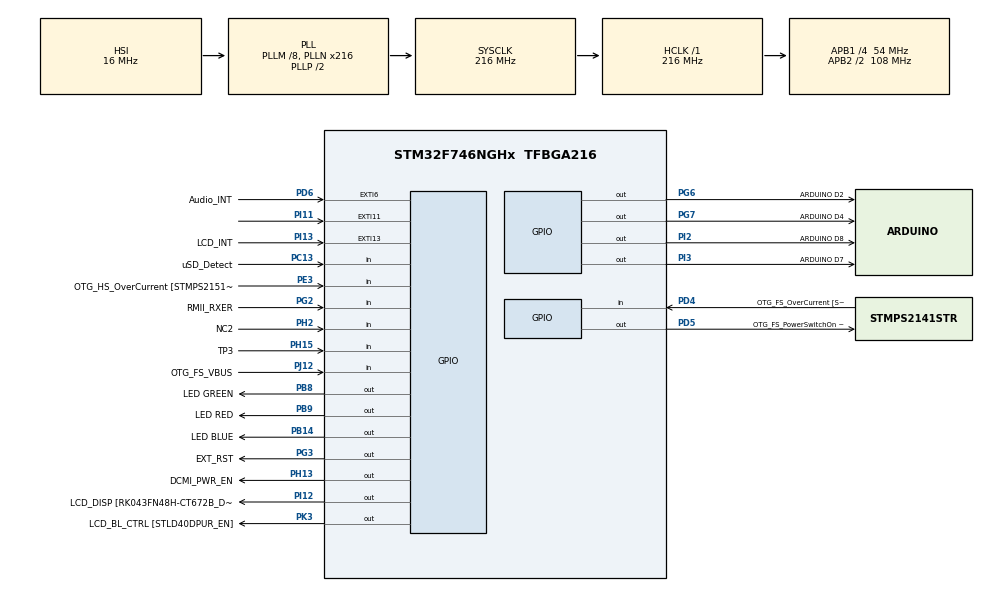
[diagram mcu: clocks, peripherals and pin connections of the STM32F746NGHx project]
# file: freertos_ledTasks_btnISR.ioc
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Mcu.Family=STM32F7
Mcu.Name=STM32F746NGHx
Mcu.Package=TFBGA216
NVIC.EXTI15_10_IRQn=true\:6\:0\:true\:false\:true\:true\:true\:true
NVIC.PriorityGroup=NVIC_PRIORITYGROUP_4
NVIC.TIM6_DAC_IRQn=true\:15\:0\:false\:false\:true\:false\:true\:true
NVIC.TimeBase=TIM6_DAC_IRQn
NVIC.TimeBaseIP=TIM6
PA0/WKUP.GPIO_Label=ARDUINO A0
PA0/WKUP.GPIO_Mode=GPIO_MODE_ANALOG
PA0/WKUP.GPIO_PuPd=GPIO_NOPULL
PA0/WKUP.Signal=ADCx_IN0
PA1.GPIO_Label=RMII_REF_CLK [LAN8742A-CZ-TR_REFCLK0]
PA1.Signal=ETH_REF_CLK
PA10.GPIO_Label=OTG_FS_ID
PA10.Signal=USB_OTG_FS_ID
PA11.GPIO_Label=OTG_FS_N
PA11.Signal=USB_OTG_FS_DM
PA12.GPIO_Label=OTG_FS_P
PA12.Signal=USB_OTG_FS_DP
PA13.GPIO_Label=SWDIO
PA13.Signal=SYS_JTMS-SWDIO
PA14.GPIO_Label=SWCLK
PA14.Signal=SYS_JTCK-SWCLK
PA15.GPIO_Label=ARDUINO PWM/D9
PA15.GPIO_ModeDefaultPP=GPIO_MODE_AF_PP
PA15.GPIO_PuPd=GPIO_NOPULL
PA15.GPIO_Speed=GPIO_SPEED_FREQ_LOW
PA15.Signal=S_TIM2_CH1_ETR
PA2.GPIO_Label=RMII_MDIO [LAN8742A-CZ-TR_MDIO]
PA2.Signal=ETH_MDIO
PA3.GPIO_Label=ULPI_D0 [USB3320C-EZK_D0]
PA3.Signal=USB_OTG_HS_ULPI_D0
PA4.GPIO_Label=DCMI_HSYNC
PA4.Signal=DCMI_HSYNC
PA5.GPIO_Label=ULPI_CLK [USB3320C-EZK_CLKOUT]
PA5.Signal=USB_OTG_HS_ULPI_CK
PA6.Signal=DCMI_PIXCLK
PA7.GPIO_Label=RMII_CRS_DV [LAN8742A-CZ-TR_CRS_DV]
PA7.Signal=ETH_CRS_DV
PA8.GPIO_Label=ARDUINO PWM/D10
PA8.GPIO_ModeDefaultPP=GPIO_MODE_AF_PP
PA8.GPIO_PuPd=GPIO_NOPULL
PA8.GPIO_Speed=GPIO_SPEED_FREQ_LOW
PA8.Signal=S_TIM1_CH1
PA9.GPIO_Label=VCP_TX [STM32F103CBT6_PA3]
PA9.GPIO_Mode=GPIO_MODE_AF_PP
PA9.GPIO_PuPd=GPIO_NOPULL
PA9.GPIO_Speed=GPIO_SPEED_FREQ_LOW
PA9.Signal=USART1_TX
PB0.GPIO_Label=ULPI_D1 [USB3320C-EZK_D1]
PB0.Signal=USB_OTG_HS_ULPI_D1
PB1.GPIO_Label=ULPI_D2 [USB3320C-EZK_D2]
PB1.Signal=USB_OTG_HS_ULPI_D2
PB10.GPIO_Label=ULPI_D3 [USB3320C-EZK_D3]
PB10.Signal=USB_OTG_HS_ULPI_D3
PB11.GPIO_Label=ULPI_D4 [USB3320C-EZK_D4]
PB11.Signal=USB_OTG_HS_ULPI_D4
PB12.GPIO_Label=ULPI_D5 [USB3320C-EZK_D5]
PB12.Signal=USB_OTG_HS_ULPI_D5
PB13.GPIO_Label=ULPI_D6 [USB3320C-EZK_D6]
PB13.Signal=USB_OTG_HS_ULPI_D6
PB14.GPIO_Label=LED BLUE
PB14.Signal=GPIO_Output
PB15.GPIO_Label=ARDUINO MOSI/PWM/D11
PB15.GPIO_Mode=GPIO_MODE_AF_PP
PB15.GPIO_PuPd=GPIO_NOPULL
PB15.GPIO_Speed=GPIO_SPEED_FREQ_LOW
PB15.Signal=SPI2_MOSI
PB2.Signal=QUADSPI_CLK
PB3.GPIO_Label=SWO
PB3.Signal=SYS_JTDO-SWO
PB4.GPIO_Label=ARDUINO PWM/D3
PB4.GPIO_ModeDefaultPP=GPIO_MODE_AF_PP
PB4.GPIO_PuPd=GPIO_NOPULL
PB4.GPIO_Speed=GPIO_SPEED_FREQ_LOW
PB4.Signal=S_TIM3_CH1
PB5.GPIO_Label=ULPI_D7 [USB3320C-EZK_D7]
PB5.Signal=USB_OTG_HS_ULPI_D7
PB6.GPIO_Label=QSPI_NCS [N25Q128A13EF840E_S]
PB6.Signal=QUADSPI_BK1_NCS
PB7.GPIO_Label=VCP_RX [STM32F103CBT6_PA2]
PB7.GPIO_Mode=GPIO_MODE_AF_PP
PB7.GPIO_PuPd=GPIO_NOPULL
PB7.GPIO_Speed=GPIO_SPEED_FREQ_LOW
PB7.Signal=USART1_RX
PB8.GPIO_Label=LED GREEN
PB8.Signal=GPIO_Output
PB9.GPIO_Label=LED RED
PB9.Signal=GPIO_Output
PC0.GPIO_Label=ULPI_STP [USB3320C-EZK_STP]
PC0.Signal=USB_OTG_HS_ULPI_STP
PC1.GPIO_Label=RMII_MDC [LAN8742A-CZ-TR_MDC]
PC1.Signal=ETH_MDC
PC10.GPIO_Label=SDMMC_D2
PC10.Signal=SDMMC1_D2
PC11.GPIO_Label=SDMMC_D3
PC11.Signal=SDMMC1_D3
PC12.GPIO_Label=SDMMC_CK
PC12.Signal=SDMMC1_CK
PC13.GPIO_Label=uSD_Detect
PC13.Signal=GPIO_Input
PC14/OSC32_IN.GPIO_Label=RCC_OSC32_IN
PC14/OSC32_IN.Signal=RCC_OSC32_IN
PC15/OSC32_OUT.GPIO_Label=RCC_OSC32_OUT
PC15/OSC32_OUT.Signal=RCC_OSC32_OUT
PC2.GPIO_Label=ULPI_DIR [USB3320C-EZK_DIR]
PC2.Signal=USB_OTG_HS_ULPI_DIR
PC3.GPIO_Label=FMC_SDCKE0 [MT48LC4M32B2B5-6A_CKE]
PC3.Signal=FMC_SDCKE0
PC4.GPIO_Label=RMII_RXD0 [LAN8742A-CZ-TR_RXD0]
PC4.Signal=ETH_RXD0
PC5.GPIO_Label=RMII_RXD1 [LAN8742A-CZ-TR_RXD1]
PC5.Signal=ETH_RXD1
PC6.GPIO_Label=ARDUINO TX/D1
PC6.Signal=USART6_TX
PC7.GPIO_Label=ARDUINO RX/D0
PC7.Signal=USART6_RX
PC8.Signal=SDMMC1_D0
PC9.Signal=SDMMC1_D1
PD0.GPIO_Label=FMC_D2 [MT48LC4M32B2B5-6A_DQ2]
PD0.Signal=FMC_D2_DA2
PD1.GPIO_Label=FMC_D3 [MT48LC4M32B2B5-6A_DQ3]
PD1.Signal=FMC_D3_DA3
PD10.GPIO_Label=FMC_D15 [MT48LC4M32B2B5-6A_DQ15]
PD10.Signal=FMC_D15_DA15
PD11.GPIO_Label=QSPI_D0 [N25Q128A13EF840E_DQ0]
PD11.Signal=QUADSPI_BK1_IO0
PD12.GPIO_Label=QSPI_D1 [N25Q128A13EF840E_DQ1]
PD12.Signal=QUADSPI_BK1_IO1
PD13.GPIO_Label=QSPI_D3 [N25Q128A13EF840E_DQ3]
PD13.Signal=QUADSPI_BK1_IO3
PD14.GPIO_Label=FMC_D0 [MT48LC4M32B2B5-6A_DQ0]
PD14.Signal=FMC_D0_DA0
PD15.GPIO_Label=FMC_D1 [MT48LC4M32B2B5-6A_DQ1]
PD15.Signal=FMC_D1_DA1
PD2.GPIO_Label=SDMMC_D0
PD2.Signal=SDMMC1_CMD
PD3.GPIO_Label=DCMI_D5
PD3.Signal=DCMI_D5
PD4.GPIO_Label=OTG_FS_OverCurrent [STMPS2141STR_Fault]
PD4.Signal=GPIO_Input
PD5.GPIO_Label=OTG_FS_PowerSwitchOn [STMPS2141STR_EN]
PD5.PinState=GPIO_PIN_SET
PD5.Signal=GPIO_Output
PD6.GPIO_Label=Audio_INT
PD6.GPIO_ModeDefaultEXTI=GPIO_MODE_EVT_RISING
PD6.Signal=GPXTI6
PD7.GPIO_Label=SPDIF_RX0 [74LVC1G04SE_4]
PD7.Signal=SPDIFRX_IN0
PD8.GPIO_Label=FMC_D13 [MT48LC4M32B2B5-6A_DQ13]
PD8.Signal=FMC_D13_DA13
PD9.GPIO_Label=FMC_D14 [MT48LC4M32B2B5-6A_DQ14]
PD9.Signal=FMC_D14_DA14
PE0.GPIO_Label=FMC_NBL0 [MT48LC4M32B2B5-6A_DQM0]
PE0.Signal=FMC_NBL0
PE1.GPIO_Label=FMC_NBL1 [MT48LC4M32B2B5-6A_DQM1]
PE1.Signal=FMC_NBL1
PE10.GPIO_Label=FMC_D7 [MT48LC4M32B2B5-6A_DQ7]
PE10.Signal=FMC_D7_DA7
PE11.GPIO_Label=FMC_D8 [MT48LC4M32B2B5-6A_DQ8]
PE11.Signal=FMC_D8_DA8
PE12.GPIO_Label=FMC_D9 [MT48LC4M32B2B5-6A_DQ9]
PE12.Signal=FMC_D9_DA9
PE13.GPIO_Label=FMC_D10 [MT48LC4M32B2B5-6A_DQ10]
PE13.Signal=FMC_D10_DA10
PE14.GPIO_Label=FMC_D11 [MT48LC4M32B2B5-6A_DQ11]
PE14.Signal=FMC_D11_DA11
PE15.GPIO_Label=FMC_D12 [MT48LC4M32B2B5-6A_DQ12]
PE15.Signal=FMC_D12_DA12
PE2.GPIO_Label=QSPI_D2 [N25Q128A13EF840E_DQ2]
PE2.Signal=QUADSPI_BK1_IO2
PE3.GPIO_Label=OTG_HS_OverCurrent [STMPS2151STR_FAULT]
PE3.Signal=GPIO_Input
PE4.GPIO_Label=LCD_B0 [RK043FN48H-CT672B_B0]
PE4.Signal=LTDC_B0
PE5.GPIO_Label=DCMI_D6
PE5.Signal=DCMI_D6
PE6.GPIO_Label=DCMI_D7
PE6.Signal=DCMI_D7
PE7.GPIO_Label=FMC_D4 [MT48LC4M32B2B5-6A_DQ4]
PE7.Signal=FMC_D4_DA4
PE8.GPIO_Label=FMC_D5 [MT48LC4M32B2B5-6A_DQ5]
PE8.Signal=FMC_D5_DA5
PE9.GPIO_Label=FMC_D6 [MT48LC4M32B2B5-6A_DQ6]
PE9.Signal=FMC_D6_DA6
PF0.GPIO_Label=FMC_A0 [MT48LC4M32B2B5-6A_A0]
PF0.Signal=FMC_A0
PF1.GPIO_Label=FMC_A1 [MT48LC4M32B2B5-6A_A1]
PF1.Signal=FMC_A1
PF10.GPIO_Label=ARDUINO A1
PF10.GPIO_Mode=GPIO_MODE_ANALOG
PF10.GPIO_PuPd=GPIO_NOPULL
PF10.Signal=ADC3_IN8
PF11.GPIO_Label=FMC_SDNRAS [MT48LC4M32B2B5-6A_RAS]
PF11.Signal=FMC_SDNRAS
PF12.GPIO_Label=FMC_A6 [MT48LC4M32B2B5-6A_A6]
PF12.Signal=FMC_A6
PF13.GPIO_Label=FMC_A7 [MT48LC4M32B2B5-6A_A7]
PF13.Signal=FMC_A7
PF14.GPIO_Label=FMC_A8 [MT48LC4M32B2B5-6A_A8]
PF14.Signal=FMC_A8
PF15.GPIO_Label=FMC_A9 [MT48LC4M32B2B5-6A_A9]
PF15.Signal=FMC_A9
PF2.GPIO_Label=FMC_A2 [MT48LC4M32B2B5-6A_A2]
PF2.Signal=FMC_A2
PF3.GPIO_Label=FMC_A3 [MT48LC4M32B2B5-6A_A3]
PF3.Signal=FMC_A3
PF4.GPIO_Label=FMC_A4 [MT48LC4M32B2B5-6A_A4]
PF4.Signal=FMC_A4
PF5.GPIO_Label=FMC_A5 [MT48LC4M32B2B5-6A_A5]
PF5.Signal=FMC_A5
PF6.GPIO_Label=ARDUINO A5
PF6.GPIO_Mode=GPIO_MODE_ANALOG
PF6.GPIO_PuPd=GPIO_NOPULL
PF6.Signal=ADC3_IN4
PF7.GPIO_Label=ARDUINO A4
PF7.GPIO_Mode=GPIO_MODE_ANALOG
PF7.GPIO_PuPd=GPIO_NOPULL
PF7.Signal=ADC3_IN5
PF8.GPIO_Label=ARDUINO A3
PF8.GPIO_Mode=GPIO_MODE_ANALOG
PF8.GPIO_PuPd=GPIO_NOPULL
PF8.Signal=ADC3_IN6
PF9.GPIO_Label=ARDUINO A2
PF9.GPIO_Mode=GPIO_MODE_ANALOG
PF9.GPIO_PuPd=GPIO_NOPULL
PF9.Signal=ADC3_IN7
PG0.GPIO_Label=FMC_A10 [MT48LC4M32B2B5-6A_A10]
PG0.Signal=FMC_A10
PG1.GPIO_Label=FMC_A11 [MT48LC4M32B2B5-6A_A11]
PG1.Signal=FMC_A11
PG10.GPIO_Label=SAI2_SDB [WM8994ECS/R_ADCDAT1]
PG10.Signal=SAI2_SD_B
PG11.GPIO_Label=RMII_TX_EN [LAN8742A-CZ-TR_TXEN]
PG11.Signal=ETH_TX_EN
PG12.GPIO_Label=LCD_B4 [RK043FN48H-CT672B_B4]
PG12.Signal=LTDC_B4
PG13.GPIO_Label=RMII_TXD0 [LAN8742A-CZ-TR_TXD0]
PG13.Signal=ETH_TXD0
PG14.GPIO_Label=RMII_TXD1 [LAN8742A-CZ-TR_TXD1]
PG14.Signal=ETH_TXD1
PG15.GPIO_Label=FMC_SDNCAS [MT48LC4M32B2B5-6A_CAS]
PG15.Signal=FMC_SDNCAS
PG2.GPIO_Label=RMII_RXER
PG2.Signal=GPIO_Input
PG3.GPIO_Label=EXT_RST
PG3.Signal=GPIO_Output
PG4.GPIO_Label=FMC_BA0 [MT48LC4M32B2B5-6A_BA0]
PG4.Signal=FMC_A14_BA0
PG5.GPIO_Label=FMC_BA1 [MT48LC4M32B2B5-6A_BA1]
PG5.Signal=FMC_A15_BA1
PG6.GPIO_Label=ARDUINO D2
PG6.Signal=GPIO_Output
PG7.GPIO_Label=ARDUINO D4
PG7.Signal=GPIO_Output
PG8.GPIO_Label=FMC_SDCLK [MT48LC4M32B2B5-6A_CLK]
PG8.Signal=FMC_SDCLK
PG9.GPIO_Label=DCMI_VSYNC
PG9.Signal=DCMI_VSYNC
PH0/OSC_IN.GPIO_Label=OSC_25M [NZ2520SB-25.00M_OUT]
PH0/OSC_IN.Signal=RCC_OSC_IN
PH1/OSC_OUT.Signal=RCC_OSC_OUT
PH10.GPIO_Label=DCMI_D1
PH10.Signal=DCMI_D1
PH11.GPIO_Label=DCMI_D2
PH11.Signal=DCMI_D2
PH12.GPIO_Label=DCMI_D3
PH12.Signal=DCMI_D3
PH13.GPIO_Label=DCMI_PWR_EN
PH13.Signal=GPIO_Output
PH14.GPIO_Label=DCMI_D4
PH14.Signal=DCMI_D4
PH15.GPIO_Label=TP3
PH15.Signal=GPIO_Input
PH2.GPIO_Label=NC2
PH2.Signal=GPIO_Input
PH3.GPIO_Label=FMC_SDNE0 [MT48LC4M32B2B5-6A_CS]
PH3.Signal=FMC_SDNE0
PH4.GPIO_Label=ULPI_NXT [USB3320C-EZK_NXT]
PH4.Signal=USB_OTG_HS_ULPI_NXT
PH5.GPIO_Label=FMC_SDNME [MT48LC4M32B2B5-6A_WE]
PH5.Signal=FMC_SDNWE
PH6.GPIO_Label=ARDUINO PWM/D6
PH6.Signal=S_TIM12_CH1
PH7.GPIO_Label=LCD_SCL [RK043FN48H-CT672B_SCL]
PH7.Signal=I2C3_SCL
PH8.GPIO_Label=LCD_SDA [RK043FN48H-CT672B_SDA]
PH8.Signal=I2C3_SDA
PH9.GPIO_Label=DCMI_D0
PH9.Signal=DCMI_D0
PI0.GPIO_Label=ARDUINO PWM/CS/D5
PI0.GPIO_ModeDefaultPP=GPIO_MODE_AF_PP
PI0.GPIO_PuPd=GPIO_NOPULL
PI0.GPIO_Speed=GPIO_SPEED_FREQ_LOW
PI0.Signal=S_TIM5_CH4
PI1.GPIO_Label=ARDUINO SCK/D13
PI1.GPIO_Mode=GPIO_MODE_AF_PP
PI1.GPIO_PuPd=GPIO_NOPULL
PI1.GPIO_Speed=GPIO_SPEED_FREQ_LOW
PI1.Signal=SPI2_SCK
PI10.GPIO_Label=LCD_HSYNC [RK043FN48H-CT672B_HSYNC]
PI10.Signal=LTDC_HSYNC
PI11.GPIO_ModeDefaultEXTI=GPIO_MODE_IT_FALLING
PI11.Signal=GPXTI11
PI12.GPIO_Label=LCD_DISP [RK043FN48H-CT672B_DISP] 
PI12.Signal=GPIO_Output
PI13.GPIO_Label=LCD_INT
PI13.GPIO_ModeDefaultEXTI=GPIO_MODE_EVT_RISING
PI13.Signal=GPXTI13
PI14.GPIO_Label=LCD_CLK [RK043FN48H-CT672B_CLK]
PI14.Signal=LTDC_CLK
PI15.GPIO_Label=LCD_R0 [RK043FN48H-CT672B_R0]
PI15.Signal=LTDC_R0
PI2.GPIO_Label=ARDUINO D8
PI2.Signal=GPIO_Output
PI3.GPIO_Label=ARDUINO D7
PI3.Signal=GPIO_Output
PI4.GPIO_Label=SAI2_MCLKA [WM8994ECS/R_MCLK1]
PI4.Signal=SAI2_MCLK_A
PI5.GPIO_Label=SAI2_SCKA [WM8994ECS/R_BCLK1]
PI5.Signal=SAI2_SCK_A
PI6.GPIO_Label=SAI2_SDA [WM8994ECS/R_DACDAT1]
PI6.Signal=SAI2_SD_A
PI7.GPIO_Label=SAI2_FSA [WM8994ECS/R_LRCLK1]
PI7.Signal=SAI2_FS_A
PI8.GPIO_Label=NC1 [TP2]
PI8.Signal=RTC_TS
PI9.GPIO_Label=LCD_VSYNC [RK043FN48H-CT672B_VSYNC]
PI9.Signal=LTDC_VSYNC
PJ0.GPIO_Label=LCD_R1 [RK043FN48H-CT672B_R1]
PJ0.Signal=LTDC_R1
PJ1.GPIO_Label=LCD_R2 [RK043FN48H-CT672B_R2]
PJ1.Signal=LTDC_R2
PJ10.GPIO_Label=LCD_G3 [RK043FN48H-CT672B_G3]
PJ10.Signal=LTDC_G3
PJ11.GPIO_Label=LCD_G4 [RK043FN48H-CT672B_G4]
PJ11.Signal=LTDC_G4
PJ12.GPIO_Label=OTG_FS_VBUS
PJ12.Signal=GPIO_Input
PJ13.GPIO_Label=LCD_B1 [RK043FN48H-CT672B_B1]
PJ13.Signal=LTDC_B1
PJ14.GPIO_Label=LCD_B2 [RK043FN48H-CT672B_B2]
PJ14.Signal=LTDC_B2
PJ15.GPIO_Label=LCD_B3 [RK043FN48H-CT672B_B3]
PJ15.Signal=LTDC_B3
PJ2.GPIO_Label=LCD_R3 [RK043FN48H-CT672B_R3]
PJ2.Signal=LTDC_R3
PJ3.GPIO_Label=LCD_R4 [RK043FN48H-CT672B_R4]
PJ3.Signal=LTDC_R4
PJ4.GPIO_Label=LCD_R5 [RK043FN48H-CT672B_R5]
PJ4.Signal=LTDC_R5
PJ5.GPIO_Label=LCD_R6 [RK043FN48H-CT672B_R6]
PJ5.Signal=LTDC_R6
PJ6.GPIO_Label=LCD_R7 [RK043FN48H-CT672B_R7]
PJ6.Signal=LTDC_R7
PJ7.GPIO_Label=LCD_G0 [RK043FN48H-CT672B_G0]
PJ7.Signal=LTDC_G0
PJ8.GPIO_Label=LCD_G1 [RK043FN48H-CT672B_G1]
PJ8.Signal=LTDC_G1
PJ9.GPIO_Label=LCD_G2 [RK043FN48H-CT672B_G2]
PJ9.Signal=LTDC_G2
PK0.GPIO_Label=LCD_G5 [RK043FN48H-CT672B_G5]
PK0.Signal=LTDC_G5
PK1.GPIO_Label=LCD_G6 [RK043FN48H-CT672B_G6]
PK1.Signal=LTDC_G6
PK2.GPIO_Label=LCD_G7 [RK043FN48H-CT672B_G7]
PK2.Signal=LTDC_G7
PK3.GPIO_Label=LCD_BL_CTRL [STLD40DPUR_EN]
PK3.Signal=GPIO_Output
PK4.GPIO_Label=LCD_B5 [RK043FN48H-CT672B_B5]
PK4.Signal=LTDC_B5
PK5.GPIO_Label=LCD_B6 [RK043FN48H-CT672B_B6]
PK5.Signal=LTDC_B6
PK6.GPIO_Label=LCD_B7 [RK043FN48H-CT672B_B7]
PK6.Signal=LTDC_B7
PK7.GPIO_Label=LCD_DE [RK043FN48H-CT672B_DE]
PK7.Signal=LTDC_DE
ProjectManager.HeapSize=0x200
ProjectManager.StackSize=0x400
ProjectManager.TargetToolchain=STM32CubeIDE
RCC.AHBFreq_Value=216000000
RCC.APB1CLKDivider=RCC_HCLK_DIV4
RCC.APB1Freq_Value=54000000
RCC.APB1TimFreq_Value=108000000
RCC.APB2CLKDivider=RCC_HCLK_DIV2
RCC.APB2Freq_Value=108000000
RCC.APB2TimFreq_Value=216000000
RCC.CortexFreq_Value=216000000
RCC.HCLKFreq_Value=216000000
RCC.HSE_VALUE=25000000
RCC.HSI_VALUE=16000000
RCC.LSE_VALUE=32768
RCC.PLLM=8
RCC.PLLN=216
RCC.PLLSourceVirtual=RCC_PLLSOURCE_HSI
RCC.SYSCLKFreq_VALUE=216000000
RCC.SYSCLKSource=RCC_SYSCLKSOURCE_PLLCLK
RCC.USBFreq_Value=216000000
RCC.VCOOutputFreq_Value=432000000
SH.ADCx_IN0.0=ADC3_IN0
SH.FMC_A0.0=FMC_A0
SH.FMC_A1.0=FMC_A1
SH.FMC_A10.0=FMC_A10
SH.FMC_A11.0=FMC_A11
SH.FMC_A14_BA0.0=FMC_BA0
SH.FMC_A15_BA1.0=FMC_BA1
SH.FMC_A2.0=FMC_A2
SH.FMC_A3.0=FMC_A3
SH.FMC_A4.0=FMC_A4
SH.FMC_A5.0=FMC_A5
SH.FMC_A6.0=FMC_A6
SH.FMC_A7.0=FMC_A7
SH.FMC_A8.0=FMC_A8
SH.FMC_A9.0=FMC_A9
SH.FMC_D0_DA0.0=FMC_D0
SH.FMC_D10_DA10.0=FMC_D10
SH.FMC_D11_DA11.0=FMC_D11
SH.FMC_D12_DA12.0=FMC_D12
SH.FMC_D13_DA13.0=FMC_D13
SH.FMC_D14_DA14.0=FMC_D14
SH.FMC_D15_DA15.0=FMC_D15
SH.FMC_D1_DA1.0=FMC_D1
SH.FMC_D2_DA2.0=FMC_D2
SH.FMC_D3_DA3.0=FMC_D3
SH.FMC_D4_DA4.0=FMC_D4
SH.FMC_D5_DA5.0=FMC_D5
SH.FMC_D6_DA6.0=FMC_D6
SH.FMC_D7_DA7.0=FMC_D7
SH.FMC_D8_DA8.0=FMC_D8
SH.FMC_D9_DA9.0=FMC_D9
SH.FMC_NBL0.0=FMC_NBL0
SH.FMC_NBL1.0=FMC_NBL1
SH.FMC_SDCLK.0=FMC_SDCLK
SH.FMC_SDNCAS.0=FMC_SDNCAS
SH.FMC_SDNRAS.0=FMC_SDNRAS
SH.FMC_SDNWE.0=FMC_SDNWE
SH.S_TIM12_CH1.0=TIM12_CH1
SH.S_TIM1_CH1.0=TIM1_CH1
SH.S_TIM2_CH1_ETR.0=TIM2_CH1
SH.S_TIM3_CH1.0=TIM3_CH1
SH.S_TIM5_CH4.0=TIM5_CH4
VP_SYS_VS_tim6.Mode=TIM6
board=STM32F746G-DISCO

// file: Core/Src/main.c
/* USER CODE BEGIN Header */
/**
  ******************************************************************************
  * @file           : main.c
  * @brief          : Main program body
  ******************************************************************************
  * @attention
  *
  * Copyright (c) 2023 STMicroelectronics.
  * All rights reserved.
  *
  * This software is licensed under terms that can be found in the LICENSE file
  * in the root directory of this software component.
  * If no LICENSE file comes with this software, it is provided AS-IS.
  *
  ******************************************************************************
  */
/* USER CODE END Header */
#include "main.h"

/* USER CODE BEGIN Includes */
#include <stdio.h>
#include "FreeRTOS.h"
#include "task.h"
/* USER CODE END Includes */

/* USER CODE BEGIN PM */
#define SYSVIEW_RTT				1
#define SYSVIEW_ONE_SHOT		0
/* USER CODE END PM */

/* USER CODE BEGIN PV */
#define DWT_CTRL    (*(volatile uint32_t*)0xE0001000)
/* USER CODE END PV */

void SystemClock_Config(void);
static void MX_GPIO_Init(void);
/* USER CODE BEGIN PFP */
static void led_green_handler (void* parameters);
static void led_red_handler (void* parameters);
static void led_blue_handler (void* parameters);
/* USER CODE END PFP */

/* USER CODE BEGIN 0 */
extern  void SEGGER_UART_init(uint32_t);

TaskHandle_t ledG_task_handle;
TaskHandle_t ledR_task_handle;
TaskHandle_t ledB_task_handle;

TaskHandle_t volatile next_task_handle = NULL;

/* USER CODE END 0 */

int main(void)
{
  /* USER CODE BEGIN 1 */

  BaseType_t status;
  /* USER CODE END 1 */

  /* MCU Configuration--------------------------------------------------------*/

  /* Reset of all peripherals, Initializes the Flash interface and the Systick. */
  HAL_Init();

  /* Configure the system clock */
  SystemClock_Config();

  /* Initialize all configured peripherals */
  MX_GPIO_Init();
  /* USER CODE BEGIN 2 */

  //Enable the CYCCNT counter.

  DWT_CTRL |= ( 1 << 0);
  SEGGER_UART_init(500000);
  SEGGER_SYSVIEW_Conf();
  SEGGER_SYSVIEW_Start();

  status = xTaskCreate(led_green_handler, "LED_grean_task", 200, NULL, 3, &ledG_task_handle);

  configASSERT(status == pdPASS);

  next_task_handle = ledG_task_handle;

  status = xTaskCreate(led_red_handler, "LED_red_task", 200, NULL, 2, &ledR_task_handle);

  configASSERT(status == pdPASS);

  status = xTaskCreate(led_blue_handler, "LED_blue_task", 200, NULL, 1, &ledB_task_handle);

  configASSERT(status == pdPASS);

    //start scheduler

  vTaskStartScheduler();
  /* USER CODE END 2 */

  /* Infinite loop */
  while (1)
  {

  }
}

void SystemClock_Config(void)
{
  RCC_OscInitTypeDef RCC_OscInitStruct = {0};
  RCC_ClkInitTypeDef RCC_ClkInitStruct = {0};

  /** Configure the main internal regulator output voltage
  */
  __HAL_RCC_PWR_CLK_ENABLE();
  __HAL_PWR_VOLTAGESCALING_CONFIG(PWR_REGULATOR_VOLTAGE_SCALE1);

  /** Initializes the RCC Oscillators according to the specified parameters
  * in the RCC_OscInitTypeDef structure.
  */
  RCC_OscInitStruct.OscillatorType = RCC_OSCILLATORTYPE_HSI;
  RCC_OscInitStruct.HSIState = RCC_HSI_ON;
  RCC_OscInitStruct.HSICalibrationValue = RCC_HSICALIBRATION_DEFAULT;
  RCC_OscInitStruct.PLL.PLLState = RCC_PLL_ON;
  RCC_OscInitStruct.PLL.PLLSource = RCC_PLLSOURCE_HSI;
  RCC_OscInitStruct.PLL.PLLM = 8;
  RCC_OscInitStruct.PLL.PLLN = 216;
  RCC_OscInitStruct.PLL.PLLP = RCC_PLLP_DIV2;
  RCC_OscInitStruct.PLL.PLLQ = 2;
  if (HAL_RCC_OscConfig(&RCC_OscInitStruct) != HAL_OK)
  {
    Error_Handler();
  }

  /** Activate the Over-Drive mode
  */
  if (HAL_PWREx_EnableOverDrive() != HAL_OK)
  {
    Error_Handler();
  }

  /** Initializes the CPU, AHB and APB buses clocks
  */
  RCC_ClkInitStruct.ClockType = RCC_CLOCKTYPE_HCLK|RCC_CLOCKTYPE_SYSCLK
                              |RCC_CLOCKTYPE_PCLK1|RCC_CLOCKTYPE_PCLK2;
  RCC_ClkInitStruct.SYSCLKSource = RCC_SYSCLKSOURCE_PLLCLK;
  RCC_ClkInitStruct.AHBCLKDivider = RCC_SYSCLK_DIV1;
  RCC_ClkInitStruct.APB1CLKDivider = RCC_HCLK_DIV4;
  RCC_ClkInitStruct.APB2CLKDivider = RCC_HCLK_DIV2;

  if (HAL_RCC_ClockConfig(&RCC_ClkInitStruct, FLASH_LATENCY_7) != HAL_OK)
  {
    Error_Handler();
  }
}

static void MX_GPIO_Init(void)
{
  GPIO_InitTypeDef GPIO_InitStruct = {0};

  /* GPIO Ports Clock Enable */
  __HAL_RCC_GPIOE_CLK_ENABLE();
  __HAL_RCC_GPIOG_CLK_ENABLE();
  __HAL_RCC_GPIOB_CLK_ENABLE();
  __HAL_RCC_GPIOD_CLK_ENABLE();
  __HAL_RCC_GPIOC_CLK_ENABLE();
  __HAL_RCC_GPIOA_CLK_ENABLE();
  __HAL_RCC_GPIOJ_CLK_ENABLE();
  __HAL_RCC_GPIOI_CLK_ENABLE();
  __HAL_RCC_GPIOK_CLK_ENABLE();
  __HAL_RCC_GPIOF_CLK_ENABLE();
  __HAL_RCC_GPIOH_CLK_ENABLE();

  /*Configure GPIO pin Output Level */
  HAL_GPIO_WritePin(GPIOB, LED_GREEN_Pin|LED_RED_Pin|LED_BLUE_Pin, GPIO_PIN_RESET);

  /*Configure GPIO pin Output Level */
  HAL_GPIO_WritePin(OTG_FS_PowerSwitchOn_GPIO_Port, OTG_FS_PowerSwitchOn_Pin, GPIO_PIN_SET);

  /*Configure GPIO pin Output Level */
  HAL_GPIO_WritePin(GPIOI, ARDUINO_D7_Pin|ARDUINO_D8_Pin|LCD_DISP_Pin, GPIO_PIN_RESET);

  /*Configure GPIO pin Output Level */
  HAL_GPIO_WritePin(LCD_BL_CTRL_GPIO_Port, LCD_BL_CTRL_Pin, GPIO_PIN_RESET);

  /*Configure GPIO pin Output Level */
  HAL_GPIO_WritePin(DCMI_PWR_EN_GPIO_Port, DCMI_PWR_EN_Pin, GPIO_PIN_RESET);

  /*Configure GPIO pin Output Level */
  HAL_GPIO_WritePin(GPIOG, ARDUINO_D4_Pin|ARDUINO_D2_Pin|EXT_RST_Pin, GPIO_PIN_RESET);

  /*Configure GPIO pin : LCD_B0_Pin */
  GPIO_InitStruct.Pin = LCD_B0_Pin;
  GPIO_InitStruct.Mode = GPIO_MODE_AF_PP;
  GPIO_InitStruct.Pull = GPIO_NOPULL;
  GPIO_InitStruct.Speed = GPIO_SPEED_FREQ_LOW;
  GPIO_InitStruct.Alternate = GPIO_AF14_LTDC;
  HAL_GPIO_Init(LCD_B0_GPIO_Port, &GPIO_InitStruct);

  /*Configure GPIO pin : OTG_HS_OverCurrent_Pin */
  GPIO_InitStruct.Pin = OTG_HS_OverCurrent_Pin;
  GPIO_InitStruct.Mode = GPIO_MODE_INPUT;
  GPIO_InitStruct.Pull = GPIO_NOPULL;
  HAL_GPIO_Init(OTG_HS_OverCurrent_GPIO_Port, &GPIO_InitStruct);

  /*Configure GPIO pin : QSPI_D2_Pin */
  GPIO_InitStruct.Pin = QSPI_D2_Pin;
  GPIO_InitStruct.Mode = GPIO_MODE_AF_PP;
  GPIO_InitStruct.Pull = GPIO_NOPULL;
  GPIO_InitStruct.Speed = GPIO_SPEED_FREQ_VERY_HIGH;
  GPIO_InitStruct.Alternate = GPIO_AF9_QUADSPI;
  HAL_GPIO_Init(QSPI_D2_GPIO_Port, &GPIO_InitStruct);

  /*Configure GPIO pins : RMII_TXD1_Pin RMII_TXD0_Pin RMII_TX_EN_Pin */
  GPIO_InitStruct.Pin = RMII_TXD1_Pin|RMII_TXD0_Pin|RMII_TX_EN_Pin;
  GPIO_InitStruct.Mode = GPIO_MODE_AF_PP;
  GPIO_InitStruct.Pull = GPIO_NOPULL;
  GPIO_InitStruct.Speed = GPIO_SPEED_FREQ_VERY_HIGH;
  GPIO_InitStruct.Alternate = GPIO_AF11_ETH;
  HAL_GPIO_Init(GPIOG, &GPIO_InitStruct);

  /*Configure GPIO pins : FMC_NBL1_Pin FMC_NBL0_Pin FMC_D5_Pin FMC_D6_Pin
                           FMC_D8_Pin FMC_D11_Pin FMC_D4_Pin FMC_D7_Pin
                           FMC_D9_Pin FMC_D12_Pin FMC_D10_Pin */
  GPIO_InitStruct.Pin = FMC_NBL1_Pin|FMC_NBL0_Pin|FMC_D5_Pin|FMC_D6_Pin
                          |FMC_D8_Pin|FMC_D11_Pin|FMC_D4_Pin|FMC_D7_Pin
                          |FMC_D9_Pin|FMC_D12_Pin|FMC_D10_Pin;
  GPIO_InitStruct.Mode = GPIO_MODE_AF_PP;
  GPIO_InitStruct.Pull = GPIO_NOPULL;
  GPIO_InitStruct.Speed = GPIO_SPEED_FREQ_VERY_HIGH;
  GPIO_InitStruct.Alternate = GPIO_AF12_FMC;
  HAL_GPIO_Init(GPIOE, &GPIO_InitStruct);

  /*Configure GPIO pins : LED_GREEN_Pin LED_RED_Pin LED_BLUE_Pin */
  GPIO_InitStruct.Pin = LED_GREEN_Pin|LED_RED_Pin|LED_BLUE_Pin;
  GPIO_InitStruct.Mode = GPIO_MODE_OUTPUT_PP;
  GPIO_InitStruct.Pull = GPIO_NOPULL;
  GPIO_InitStruct.Speed = GPIO_SPEED_FREQ_LOW;
  HAL_GPIO_Init(GPIOB, &GPIO_InitStruct);

  /*Configure GPIO pins : ULPI_D7_Pin ULPI_D6_Pin ULPI_D5_Pin ULPI_D3_Pin
                           ULPI_D2_Pin ULPI_D1_Pin ULPI_D4_Pin */
  GPIO_InitStruct.Pin = ULPI_D7_Pin|ULPI_D6_Pin|ULPI_D5_Pin|ULPI_D3_Pin
                          |ULPI_D2_Pin|ULPI_D1_Pin|ULPI_D4_Pin;
  GPIO_InitStruct.Mode = GPIO_MODE_AF_PP;
  GPIO_InitStruct.Pull = GPIO_NOPULL;
  GPIO_InitStruct.Speed = GPIO_SPEED_FREQ_VERY_HIGH;
  GPIO_InitStruct.Alternate = GPIO_AF10_OTG_HS;
  HAL_GPIO_Init(GPIOB, &GPIO_InitStruct);

  /*Configure GPIO pin : ARDUINO_PWM_D3_Pin */
  GPIO_InitStruct.Pin = ARDUINO_PWM_D3_Pin;
  GPIO_InitStruct.Mode = GPIO_MODE_AF_PP;
  GPIO_InitStruct.Pull = GPIO_NOPULL;
  GPIO_InitStruct.Speed = GPIO_SPEED_FREQ_LOW;
  GPIO_InitStruct.Alternate = GPIO_AF2_TIM3;
  HAL_GPIO_Init(ARDUINO_PWM_D3_GPIO_Port, &GPIO_InitStruct);

  /*Configure GPIO pin : SPDIF_RX0_Pin */
  GPIO_InitStruct.Pin = SPDIF_RX0_Pin;
  GPIO_InitStruct.Mode = GPIO_MODE_AF_PP;
  GPIO_InitStruct.Pull = GPIO_NOPULL;
  GPIO_InitStruct.Speed = GPIO_SPEED_FREQ_LOW;
  GPIO_InitStruct.Alternate = GPIO_AF8_SPDIFRX;
  HAL_GPIO_Init(SPDIF_RX0_GPIO_Port, &GPIO_InitStruct);

  /*Configure GPIO pins : SDMMC_CK_Pin SDMMC_D3_Pin SDMMC_D2_Pin PC9
                           PC8 */
  GPIO_InitStruct.Pin = SDMMC_CK_Pin|SDMMC_D3_Pin|SDMMC_D2_Pin|GPIO_PIN_9
                          |GPIO_PIN_8;
  GPIO_InitStruct.Mode = GPIO_MODE_AF_PP;
  GPIO_InitStruct.Pull = GPIO_NOPULL;
  GPIO_InitStruct.Speed = GPIO_SPEED_FREQ_VERY_HIGH;
  GPIO_InitStruct.Alternate = GPIO_AF12_SDMMC1;
  HAL_GPIO_Init(GPIOC, &GPIO_InitStruct);

  /*Configure GPIO pin : ARDUINO_PWM_D9_Pin */
  GPIO_InitStruct.Pin = ARDUINO_PWM_D9_Pin;
  GPIO_InitStruct.Mode = GPIO_MODE_AF_PP;
  GPIO_InitStruct.Pull = GPIO_NOPULL;
  GPIO_InitStruct.Speed = GPIO_SPEED_FREQ_LOW;
  GPIO_InitStruct.Alternate = GPIO_AF1_TIM2;
  HAL_GPIO_Init(ARDUINO_PWM_D9_GPIO_Port, &GPIO_InitStruct);

  /*Configure GPIO pins : DCMI_D6_Pin DCMI_D7_Pin */
  GPIO_InitStruct.Pin = DCMI_D6_Pin|DCMI_D7_Pin;
  GPIO_InitStruct.Mode = GPIO_MODE_AF_PP;
  GPIO_InitStruct.Pull = GPIO_NOPULL;
  GPIO_InitStruct.Speed = GPIO_SPEED_FREQ_LOW;
  GPIO_InitStruct.Alternate = GPIO_AF13_DCMI;
  HAL_GPIO_Init(GPIOE, &GPIO_InitStruct);

  /*Configure GPIO pin : VCP_RX_Pin */
  GPIO_InitStruct.Pin = VCP_RX_Pin;
  GPIO_InitStruct.Mode = GPIO_MODE_AF_PP;
  GPIO_InitStruct.Pull = GPIO_NOPULL;
  GPIO_InitStruct.Speed = GPIO_SPEED_FREQ_LOW;
  GPIO_InitStruct.Alternate = GPIO_AF7_USART1;
  HAL_GPIO_Init(VCP_RX_GPIO_Port, &GPIO_InitStruct);

  /*Configure GPIO pin : QSPI_NCS_Pin */
  GPIO_InitStruct.Pin = QSPI_NCS_Pin;
  GPIO_InitStruct.Mode = GPIO_MODE_AF_PP;
  GPIO_InitStruct.Pull = GPIO_NOPULL;
  GPIO_InitStruct.Speed = GPIO_SPEED_FREQ_VERY_HIGH;
  GPIO_InitStruct.Alternate = GPIO_AF10_QUADSPI;
  HAL_GPIO_Init(QSPI_NCS_GPIO_Port, &GPIO_InitStruct);

  /*Configure GPIO pins : FMC_SDNCAS_Pin FMC_SDCLK_Pin FMC_A11_Pin FMC_A10_Pin
                           FMC_BA1_Pin FMC_BA0_Pin */
  GPIO_InitStruct.Pin = FMC_SDNCAS_Pin|FMC_SDCLK_Pin|FMC_A11_Pin|FMC_A10_Pin
                          |FMC_BA1_Pin|FMC_BA0_Pin;
  GPIO_InitStruct.Mode = GPIO_MODE_AF_PP;
  GPIO_InitStruct.Pull = GPIO_NOPULL;
  GPIO_InitStruct.Speed = GPIO_SPEED_FREQ_VERY_HIGH;
  GPIO_InitStruct.Alternate = GPIO_AF12_FMC;
  HAL_GPIO_Init(GPIOG, &GPIO_InitStruct);

  /*Configure GPIO pins : LCD_B1_Pin LCD_B2_Pin LCD_B3_Pin LCD_G4_Pin
                           LCD_G1_Pin LCD_G3_Pin LCD_G0_Pin LCD_G2_Pin
                           LCD_R7_Pin LCD_R5_Pin LCD_R6_Pin LCD_R4_Pin
                           LCD_R3_Pin LCD_R1_Pin LCD_R2_Pin */
  GPIO_InitStruct.Pin = LCD_B1_Pin|LCD_B2_Pin|LCD_B3_Pin|LCD_G4_Pin
                          |LCD_G1_Pin|LCD_G3_Pin|LCD_G0_Pin|LCD_G2_Pin
                          |LCD_R7_Pin|LCD_R5_Pin|LCD_R6_Pin|LCD_R4_Pin
                          |LCD_R3_Pin|LCD_R1_Pin|LCD_R2_Pin;
  GPIO_InitStruct.Mode = GPIO_MODE_AF_PP;
  GPIO_InitStruct.Pull = GPIO_NOPULL;
  GPIO_InitStruct.Speed = GPIO_SPEED_FREQ_LOW;
  GPIO_InitStruct.Alternate = GPIO_AF14_LTDC;
  HAL_GPIO_Init(GPIOJ, &GPIO_InitStruct);

  /*Configure GPIO pin : OTG_FS_VBUS_Pin */
  GPIO_InitStruct.Pin = OTG_FS_VBUS_Pin;
  GPIO_InitStruct.Mode = GPIO_MODE_INPUT;
  GPIO_InitStruct.Pull = GPIO_NOPULL;
  HAL_GPIO_Init(OTG_FS_VBUS_GPIO_Port, &GPIO_InitStruct);

  /*Configure GPIO pin : Audio_INT_Pin */
  GPIO_InitStruct.Pin = Audio_INT_Pin;
  GPIO_InitStruct.Mode = GPIO_MODE_EVT_RISING;
  GPIO_InitStruct.Pull = GPIO_NOPULL;
  HAL_GPIO_Init(Audio_INT_GPIO_Port, &GPIO_InitStruct);

  /*Configure GPIO pins : FMC_D2_Pin FMC_D3_Pin FMC_D1_Pin FMC_D15_Pin
                           FMC_D0_Pin FMC_D14_Pin FMC_D13_Pin */
  GPIO_InitStruct.Pin = FMC_D2_Pin|FMC_D3_Pin|FMC_D1_Pin|FMC_D15_Pin
                          |FMC_D0_Pin|FMC_D14_Pin|FMC_D13_Pin;
  GPIO_InitStruct.Mode = GPIO_MODE_AF_PP;
  GPIO_InitStruct.Pull = GPIO_NOPULL;
  GPIO_InitStruct.Speed = GPIO_SPEED_FREQ_VERY_HIGH;
  GPIO_InitStruct.Alternate = GPIO_AF12_FMC;
  HAL_GPIO_Init(GPIOD, &GPIO_InitStruct);

  /*Configure GPIO pins : OTG_FS_P_Pin OTG_FS_N_Pin OTG_FS_ID_Pin */
  GPIO_InitStruct.Pin = OTG_FS_P_Pin|OTG_FS_N_Pin|OTG_FS_ID_Pin;
  GPIO_InitStruct.Mode = GPIO_MODE_AF_PP;
  GPIO_InitStruct.Pull = GPIO_NOPULL;
  GPIO_InitStruct.Speed = GPIO_SPEED_FREQ_VERY_HIGH;
  GPIO_InitStruct.Alternate = GPIO_AF10_OTG_FS;
  HAL_GPIO_Init(GPIOA, &GPIO_InitStruct);

  /*Configure GPIO pins : SAI2_MCLKA_Pin SAI2_SCKA_Pin SAI2_FSA_Pin SAI2_SDA_Pin */
  GPIO_InitStruct.Pin = SAI2_MCLKA_Pin|SAI2_SCKA_Pin|SAI2_FSA_Pin|SAI2_SDA_Pin;
  GPIO_InitStruct.Mode = GPIO_MODE_AF_PP;
  GPIO_InitStruct.Pull = GPIO_NOPULL;
  GPIO_InitStruct.Speed = GPIO_SPEED_FREQ_LOW;
  GPIO_InitStruct.Alternate = GPIO_AF10_SAI2;
  HAL_GPIO_Init(GPIOI, &GPIO_InitStruct);

  /*Configure GPIO pins : LCD_DE_Pin LCD_B7_Pin LCD_B6_Pin LCD_B5_Pin
                           LCD_G6_Pin LCD_G7_Pin LCD_G5_Pin */
  GPIO_InitStruct.Pin = LCD_DE_Pin|LCD_B7_Pin|LCD_B6_Pin|LCD_B5_Pin
                          |LCD_G6_Pin|LCD_G7_Pin|LCD_G5_Pin;
  GPIO_InitStruct.Mode = GPIO_MODE_AF_PP;
  GPIO_InitStruct.Pull = GPIO_NOPULL;
  GPIO_InitStruct.Speed = GPIO_SPEED_FREQ_LOW;
  GPIO_InitStruct.Alternate = GPIO_AF14_LTDC;
  HAL_GPIO_Init(GPIOK, &GPIO_InitStruct);

  /*Configure GPIO pin : LCD_B4_Pin */
  GPIO_InitStruct.Pin = LCD_B4_Pin;
  GPIO_InitStruct.Mode = GPIO_MODE_AF_PP;
  GPIO_InitStruct.Pull = GPIO_NOPULL;
  GPIO_InitStruct.Speed = GPIO_SPEED_FREQ_LOW;
  GPIO_InitStruct.Alternate = GPIO_AF9_LTDC;
  HAL_GPIO_Init(LCD_B4_GPIO_Port, &GPIO_InitStruct);

  /*Configure GPIO pin : SAI2_SDB_Pin */
  GPIO_InitStruct.Pin = SAI2_SDB_Pin;
  GPIO_InitStruct.Mode = GPIO_MODE_AF_PP;
  GPIO_InitStruct.Pull = GPIO_NOPULL;
  GPIO_InitStruct.Speed = GPIO_SPEED_FREQ_LOW;
  GPIO_InitStruct.Alternate = GPIO_AF10_SAI2;
  HAL_GPIO_Init(SAI2_SDB_GPIO_Port, &GPIO_InitStruct);

  /*Configure GPIO pin : OTG_FS_PowerSwitchOn_Pin */
  GPIO_InitStruct.Pin = OTG_FS_PowerSwitchOn_Pin;
  GPIO_InitStruct.Mode = GPIO_MODE_OUTPUT_PP;
  GPIO_InitStruct.Pull = GPIO_NOPULL;
  GPIO_InitStruct.Speed = GPIO_SPEED_FREQ_LOW;
  HAL_GPIO_Init(OTG_FS_PowerSwitchOn_GPIO_Port, &GPIO_InitStruct);

  /*Configure GPIO pin : DCMI_D5_Pin */
  GPIO_InitStruct.Pin = DCMI_D5_Pin;
  GPIO_InitStruct.Mode = GPIO_MODE_AF_PP;
  GPIO_InitStruct.Pull = GPIO_NOPULL;
  GPIO_InitStruct.Speed = GPIO_SPEED_FREQ_LOW;
  GPIO_InitStruct.Alternate = GPIO_AF13_DCMI;
  HAL_GPIO_Init(DCMI_D5_GPIO_Port, &GPIO_InitStruct);

  /*Configure GPIO pins : ARDUINO_D7_Pin ARDUINO_D8_Pin LCD_DISP_Pin */
  GPIO_InitStruct.Pin = ARDUINO_D7_Pin|ARDUINO_D8_Pin|LCD_DISP_Pin;
  GPIO_InitStruct.Mode = GPIO_MODE_OUTPUT_PP;
  GPIO_InitStruct.Pull = GPIO_NOPULL;
  GPIO_InitStruct.Speed = GPIO_SPEED_FREQ_LOW;
  HAL_GPIO_Init(GPIOI, &GPIO_InitStruct);

  /*Configure GPIO pin : uSD_Detect_Pin */
  GPIO_InitStruct.Pin = uSD_Detect_Pin;
  GPIO_InitStruct.Mode = GPIO_MODE_INPUT;
  GPIO_InitStruct.Pull = GPIO_NOPULL;
  HAL_GPIO_Init(uSD_Detect_GPIO_Port, &GPIO_InitStruct);

  /*Configure GPIO pins : FMC_A0_Pin FMC_A1_Pin FMC_A2_Pin FMC_A3_Pin
                           FMC_A4_Pin FMC_A5_Pin FMC_A6_Pin FMC_A9_Pin
                           FMC_A7_Pin FMC_A8_Pin FMC_SDNRAS_Pin */
  GPIO_InitStruct.Pin = FMC_A0_Pin|FMC_A1_Pin|FMC_A2_Pin|FMC_A3_Pin
                          |FMC_A4_Pin|FMC_A5_Pin|FMC_A6_Pin|FMC_A9_Pin
                          |FMC_A7_Pin|FMC_A8_Pin|FMC_SDNRAS_Pin;
  GPIO_InitStruct.Mode = GPIO_MODE_AF_PP;
  GPIO_InitStruct.Pull = GPIO_NOPULL;
  GPIO_InitStruct.Speed = GPIO_SPEED_FREQ_VERY_HIGH;
  GPIO_InitStruct.Alternate = GPIO_AF12_FMC;
  HAL_GPIO_Init(GPIOF, &GPIO_InitStruct);

  /*Configure GPIO pins : LCD_HSYNC_Pin LCD_VSYNC_Pin LCD_R0_Pin LCD_CLK_Pin */
  GPIO_InitStruct.Pin = LCD_HSYNC_Pin|LCD_VSYNC_Pin|LCD_R0_Pin|LCD_CLK_Pin;
  GPIO_InitStruct.Mode = GPIO_MODE_AF_PP;
  GPIO_InitStruct.Pull = GPIO_NOPULL;
  GPIO_InitStruct.Speed = GPIO_SPEED_FREQ_LOW;
  GPIO_InitStruct.Alternate = GPIO_AF14_LTDC;
  HAL_GPIO_Init(GPIOI, &GPIO_InitStruct);

  /*Configure GPIO pin : LCD_BL_CTRL_Pin */
  GPIO_InitStruct.Pin = LCD_BL_CTRL_Pin;
  GPIO_InitStruct.Mode = GPIO_MODE_OUTPUT_PP;
  GPIO_InitStruct.Pull = GPIO_NOPULL;
  GPIO_InitStruct.Speed = GPIO_SPEED_FREQ_LOW;
  HAL_GPIO_Init(LCD_BL_CTRL_GPIO_Port, &GPIO_InitStruct);

  /*Configure GPIO pin : DCMI_VSYNC_Pin */
  GPIO_InitStruct.Pin = DCMI_VSYNC_Pin;
  GPIO_InitStruct.Mode = GPIO_MODE_AF_PP;
  GPIO_InitStruct.Pull = GPIO_NOPULL;
  GPIO_InitStruct.Speed = GPIO_SPEED_FREQ_LOW;
  GPIO_InitStruct.Alternate = GPIO_AF13_DCMI;
  HAL_GPIO_Init(DCMI_VSYNC_GPIO_Port, &GPIO_InitStruct);

  /*Configure GPIO pin : OTG_FS_OverCurrent_Pin */
  GPIO_InitStruct.Pin = OTG_FS_OverCurrent_Pin;
  GPIO_InitStruct.Mode = GPIO_MODE_INPUT;
  GPIO_InitStruct.Pull = GPIO_NOPULL;
  HAL_GPIO_Init(OTG_FS_OverCurrent_GPIO_Port, &GPIO_InitStruct);

  /*Configure GPIO pin : SDMMC_D0_Pin */
  GPIO_InitStruct.Pin = SDMMC_D0_Pin;
  GPIO_InitStruct.Mode = GPIO_MODE_AF_PP;
  GPIO_InitStruct.Pull = GPIO_NOPULL;
  GPIO_InitStruct.Speed = GPIO_SPEED_FREQ_VERY_HIGH;
  GPIO_InitStruct.Alternate = GPIO_AF12_SDMMC1;
  HAL_GPIO_Init(SDMMC_D0_GPIO_Port, &GPIO_InitStruct);

  /*Configure GPIO pins : TP3_Pin NC2_Pin */
  GPIO_InitStruct.Pin = TP3_Pin|NC2_Pin;
  GPIO_InitStruct.Mode = GPIO_MODE_INPUT;
  GPIO_InitStruct.Pull = GPIO_NOPULL;
  HAL_GPIO_Init(GPIOH, &GPIO_InitStruct);

  /*Configure GPIO pin : ARDUINO_SCK_D13_Pin */
  GPIO_InitStruct.Pin = ARDUINO_SCK_D13_Pin;
  GPIO_InitStruct.Mode = GPIO_MODE_AF_PP;
  GPIO_InitStruct.Pull = GPIO_NOPULL;
  GPIO_InitStruct.Speed = GPIO_SPEED_FREQ_LOW;
  GPIO_InitStruct.Alternate = GPIO_AF5_SPI2;
  HAL_GPIO_Init(ARDUINO_SCK_D13_GPIO_Port, &GPIO_InitStruct);

  /*Configure GPIO pin : DCMI_PWR_EN_Pin */
  GPIO_InitStruct.Pin = DCMI_PWR_EN_Pin;
  GPIO_InitStruct.Mode = GPIO_MODE_OUTPUT_PP;
  GPIO_InitStruct.Pull = GPIO_NOPULL;
  GPIO_InitStruct.Speed = GPIO_SPEED_FREQ_LOW;
  HAL_GPIO_Init(DCMI_PWR_EN_GPIO_Port, &GPIO_InitStruct);

  /*Configure GPIO pins : DCMI_D4_Pin DCMI_D3_Pin DCMI_D0_Pin DCMI_D2_Pin
                           DCMI_D1_Pin */
  GPIO_InitStruct.Pin = DCMI_D4_Pin|DCMI_D3_Pin|DCMI_D0_Pin|DCMI_D2_Pin
                          |DCMI_D1_Pin;
  GPIO_InitStruct.Mode = GPIO_MODE_AF_PP;
  GPIO_InitStruct.Pull = GPIO_NOPULL;
  GPIO_InitStruct.Speed = GPIO_SPEED_FREQ_LOW;
  GPIO_InitStruct.Alternate = GPIO_AF13_DCMI;
  HAL_GPIO_Init(GPIOH, &GPIO_InitStruct);

  /*Configure GPIO pin : ARDUINO_PWM_CS_D5_Pin */
  GPIO_InitStruct.Pin = ARDUINO_PWM_CS_D5_Pin;
  GPIO_InitStruct.Mode = GPIO_MODE_AF_PP;
  GPIO_InitStruct.Pull = GPIO_NOPULL;
  GPIO_InitStruct.Speed = GPIO_SPEED_FREQ_LOW;
  GPIO_InitStruct.Alternate = GPIO_AF2_TIM5;
  HAL_GPIO_Init(ARDUINO_PWM_CS_D5_GPIO_Port, &GPIO_InitStruct);

  /*Configure GPIO pin : VCP_TX_Pin */
  GPIO_InitStruct.Pin = VCP_TX_Pin;
  GPIO_InitStruct.Mode = GPIO_MODE_AF_PP;
  GPIO_InitStruct.Pull = GPIO_NOPULL;
  GPIO_InitStruct.Speed = GPIO_SPEED_FREQ_LOW;
  GPIO_InitStruct.Alternate = GPIO_AF7_USART1;
  HAL_GPIO_Init(VCP_TX_GPIO_Port, &GPIO_InitStruct);

  /*Configure GPIO pin : PI11 */
  GPIO_InitStruct.Pin = GPIO_PIN_11;
  GPIO_InitStruct.Mode = GPIO_MODE_IT_FALLING;
  GPIO_InitStruct.Pull = GPIO_NOPULL;
  HAL_GPIO_Init(GPIOI, &GPIO_InitStruct);

  /*Configure GPIO pin : ARDUINO_PWM_D10_Pin */
  GPIO_InitStruct.Pin = ARDUINO_PWM_D10_Pin;
  GPIO_InitStruct.Mode = GPIO_MODE_AF_PP;
  GPIO_InitStruct.Pull = GPIO_NOPULL;
  GPIO_InitStruct.Speed = GPIO_SPEED_FREQ_LOW;
  GPIO_InitStruct.Alternate = GPIO_AF1_TIM1;
  HAL_GPIO_Init(ARDUINO_PWM_D10_GPIO_Port, &GPIO_InitStruct);

  /*Configure GPIO pin : LCD_INT_Pin */
  GPIO_InitStruct.Pin = LCD_INT_Pin;
  GPIO_InitStruct.Mode = GPIO_MODE_EVT_RISING;
  GPIO_InitStruct.Pull = GPIO_NOPULL;
  HAL_GPIO_Init(LCD_INT_GPIO_Port, &GPIO_InitStruct);

  /*Configure GPIO pins : ARDUINO_RX_D0_Pin ARDUINO_TX_D1_Pin */
  GPIO_InitStruct.Pin = ARDUINO_RX_D0_Pin|ARDUINO_TX_D1_Pin;
  GPIO_InitStruct.Mode = GPIO_MODE_AF_PP;
  GPIO_InitStruct.Pull = GPIO_NOPULL;
  GPIO_InitStruct.Speed = GPIO_SPEED_FREQ_VERY_HIGH;
  GPIO_InitStruct.Alternate = GPIO_AF8_USART6;
  HAL_GPIO_Init(GPIOC, &GPIO_InitStruct);

  /*Configure GPIO pin : ULPI_NXT_Pin */
  GPIO_InitStruct.Pin = ULPI_NXT_Pin;
  GPIO_InitStruct.Mode = GPIO_MODE_AF_PP;
  GPIO_InitStruct.Pull = GPIO_NOPULL;
  GPIO_InitStruct.Speed = GPIO_SPEED_FREQ_VERY_HIGH;
  GPIO_InitStruct.Alternate = GPIO_AF10_OTG_HS;
  HAL_GPIO_Init(ULPI_NXT_GPIO_Port, &GPIO_InitStruct);

  /*Configure GPIO pins : FMC_SDNME_Pin FMC_SDNE0_Pin */
  GPIO_InitStruct.Pin = FMC_SDNME_Pin|FMC_SDNE0_Pin;
  GPIO_InitStruct.Mode = GPIO_MODE_AF_PP;
  GPIO_InitStruct.Pull = GPIO_NOPULL;
  GPIO_InitStruct.Speed = GPIO_SPEED_FREQ_VERY_HIGH;
  GPIO_InitStruct.Alternate = GPIO_AF12_FMC;
  HAL_GPIO_Init(GPIOH, &GPIO_InitStruct);

  /*Configure GPIO pins : ARDUINO_D4_Pin ARDUINO_D2_Pin EXT_RST_Pin */
  GPIO_InitStruct.Pin = ARDUINO_D4_Pin|ARDUINO_D2_Pin|EXT_RST_Pin;
  GPIO_InitStruct.Mode = GPIO_MODE_OUTPUT_PP;
  GPIO_InitStruct.Pull = GPIO_NOPULL;
  GPIO_InitStruct.Speed = GPIO_SPEED_FREQ_LOW;
  HAL_GPIO_Init(GPIOG, &GPIO_InitStruct);

  /*Configure GPIO pins : ARDUINO_A4_Pin ARDUINO_A5_Pin ARDUINO_A1_Pin ARDUINO_A2_Pin
                           ARDUINO_A3_Pin */
  GPIO_InitStruct.Pin = ARDUINO_A4_Pin|ARDUINO_A5_Pin|ARDUINO_A1_Pin|ARDUINO_A2_Pin
                          |ARDUINO_A3_Pin;
  GPIO_InitStruct.Mode = GPIO_MODE_ANALOG;
  GPIO_InitStruct.Pull = GPIO_NOPULL;
  HAL_GPIO_Init(GPIOF, &GPIO_InitStruct);

  /*Configure GPIO pin : FMC_SDCKE0_Pin */
  GPIO_InitStruct.Pin = FMC_SDCKE0_Pin;
  GPIO_InitStruct.Mode = GPIO_MODE_AF_PP;
  GPIO_InitStruct.Pull = GPIO_NOPULL;
  GPIO_InitStruct.Speed = GPIO_SPEED_FREQ_VERY_HIGH;
  GPIO_InitStruct.Alternate = GPIO_AF12_FMC;
  HAL_GPIO_Init(FMC_SDCKE0_GPIO_Port, &GPIO_InitStruct);

  /*Configure GPIO pins : ULPI_STP_Pin ULPI_DIR_Pin */
  GPIO_InitStruct.Pin = ULPI_STP_Pin|ULPI_DIR_Pin;
  GPIO_InitStruct.Mode = GPIO_MODE_AF_PP;
  GPIO_InitStruct.Pull = GPIO_NOPULL;
  GPIO_InitStruct.Speed = GPIO_SPEED_FREQ_VERY_HIGH;
  GPIO_InitStruct.Alternate = GPIO_AF10_OTG_HS;
  HAL_GPIO_Init(GPIOC, &GPIO_InitStruct);

  /*Configure GPIO pins : RMII_MDC_Pin RMII_RXD0_Pin RMII_RXD1_Pin */
  GPIO_InitStruct.Pin = RMII_MDC_Pin|RMII_RXD0_Pin|RMII_RXD1_Pin;
  GPIO_InitStruct.Mode = GPIO_MODE_AF_PP;
  GPIO_InitStruct.Pull = GPIO_NOPULL;
  GPIO_InitStruct.Speed = GPIO_SPEED_FREQ_VERY_HIGH;
  GPIO_InitStruct.Alternate = GPIO_AF11_ETH;
  HAL_GPIO_Init(GPIOC, &GPIO_InitStruct);

  /*Configure GPIO pin : PB2 */
  GPIO_InitStruct.Pin = GPIO_PIN_2;
  GPIO_InitStruct.Mode = GPIO_MODE_AF_PP;
  GPIO_InitStruct.Pull = GPIO_NOPULL;
  GPIO_InitStruct.Speed = GPIO_SPEED_FREQ_VERY_HIGH;
  GPIO_InitStruct.Alternate = GPIO_AF9_QUADSPI;
  HAL_GPIO_Init(GPIOB, &GPIO_InitStruct);

  /*Configure GPIO pins : QSPI_D1_Pin QSPI_D3_Pin QSPI_D0_Pin */
  GPIO_InitStruct.Pin = QSPI_D1_Pin|QSPI_D3_Pin|QSPI_D0_Pin;
  GPIO_InitStruct.Mode = GPIO_MODE_AF_PP;
  GPIO_InitStruct.Pull = GPIO_NOPULL;
  GPIO_InitStruct.Speed = GPIO_SPEED_FREQ_VERY_HIGH;
  GPIO_InitStruct.Alternate = GPIO_AF9_QUADSPI;
  HAL_GPIO_Init(GPIOD, &GPIO_InitStruct);

  /*Configure GPIO pin : RMII_RXER_Pin */
  GPIO_InitStruct.Pin = RMII_RXER_Pin;
  GPIO_InitStruct.Mode = GPIO_MODE_INPUT;
  GPIO_InitStruct.Pull = GPIO_NOPULL;
  HAL_GPIO_Init(RMII_RXER_GPIO_Port, &GPIO_InitStruct);

  /*Configure GPIO pins : RMII_REF_CLK_Pin RMII_MDIO_Pin RMII_CRS_DV_Pin */
  GPIO_InitStruct.Pin = RMII_REF_CLK_Pin|RMII_MDIO_Pin|RMII_CRS_DV_Pin;
  GPIO_InitStruct.Mode = GPIO_MODE_AF_PP;
  GPIO_InitStruct.Pull = GPIO_NOPULL;
  GPIO_InitStruct.Speed = GPIO_SPEED_FREQ_VERY_HIGH;
  GPIO_InitStruct.Alternate = GPIO_AF11_ETH;
  HAL_GPIO_Init(GPIOA, &GPIO_InitStruct);

  /*Configure GPIO pin : ARDUINO_A0_Pin */
  GPIO_InitStruct.Pin = ARDUINO_A0_Pin;
  GPIO_InitStruct.Mode = GPIO_MODE_ANALOG;
  GPIO_InitStruct.Pull = GPIO_NOPULL;
  HAL_GPIO_Init(ARDUINO_A0_GPIO_Port, &GPIO_InitStruct);

  /*Configure GPIO pins : DCMI_HSYNC_Pin PA6 */
  GPIO_InitStruct.Pin = DCMI_HSYNC_Pin|GPIO_PIN_6;
  GPIO_InitStruct.Mode = GPIO_MODE_AF_PP;
  GPIO_InitStruct.Pull = GPIO_NOPULL;
  GPIO_InitStruct.Speed = GPIO_SPEED_FREQ_LOW;
  GPIO_InitStruct.Alternate = GPIO_AF13_DCMI;
  HAL_GPIO_Init(GPIOA, &GPIO_InitStruct);

  /*Configure GPIO pins : LCD_SCL_Pin LCD_SDA_Pin */
  GPIO_InitStruct.Pin = LCD_SCL_Pin|LCD_SDA_Pin;
  GPIO_InitStruct.Mode = GPIO_MODE_AF_OD;
  GPIO_InitStruct.Pull = GPIO_NOPULL;
  GPIO_InitStruct.Speed = GPIO_SPEED_FREQ_VERY_HIGH;
  GPIO_InitStruct.Alternate = GPIO_AF4_I2C3;
  HAL_GPIO_Init(GPIOH, &GPIO_InitStruct);

  /*Configure GPIO pins : ULPI_CLK_Pin ULPI_D0_Pin */
  GPIO_InitStruct.Pin = ULPI_CLK_Pin|ULPI_D0_Pin;
  GPIO_InitStruct.Mode = GPIO_MODE_AF_PP;
  GPIO_InitStruct.Pull = GPIO_NOPULL;
  GPIO_InitStruct.Speed = GPIO_SPEED_FREQ_VERY_HIGH;
  GPIO_InitStruct.Alternate = GPIO_AF10_OTG_HS;
  HAL_GPIO_Init(GPIOA, &GPIO_InitStruct);

  /*Configure GPIO pin : ARDUINO_PWM_D6_Pin */
  GPIO_InitStruct.Pin = ARDUINO_PWM_D6_Pin;
  GPIO_InitStruct.Mode = GPIO_MODE_AF_PP;
  GPIO_InitStruct.Pull = GPIO_NOPULL;
  GPIO_InitStruct.Speed = GPIO_SPEED_FREQ_LOW;
  GPIO_InitStruct.Alternate = GPIO_AF9_TIM12;
  HAL_GPIO_Init(ARDUINO_PWM_D6_GPIO_Port, &GPIO_InitStruct);

  /*Configure GPIO pin : ARDUINO_MOSI_PWM_D11_Pin */
  GPIO_InitStruct.Pin = ARDUINO_MOSI_PWM_D11_Pin;
  GPIO_InitStruct.Mode = GPIO_MODE_AF_PP;
  GPIO_InitStruct.Pull = GPIO_NOPULL;
  GPIO_InitStruct.Speed = GPIO_SPEED_FREQ_LOW;
  GPIO_InitStruct.Alternate = GPIO_AF5_SPI2;
  HAL_GPIO_Init(ARDUINO_MOSI_PWM_D11_GPIO_Port, &GPIO_InitStruct);

  /* EXTI interrupt init*/
  HAL_NVIC_SetPriority(EXTI15_10_IRQn, 6, 0);
  HAL_NVIC_EnableIRQ(EXTI15_10_IRQn);

}

/* USER CODE BEGIN 4 */

void button_interrupt_handler(void)
{
	BaseType_t pxHigherPriorityTaskwWoken;

	//Variable that holds states of task which receive notification
	pxHigherPriorityTaskwWoken = pdFALSE;

	traceISR_ENTER();
	xTaskNotifyFromISR(next_task_handle, 0, eNoAction, &pxHigherPriorityTaskwWoken);

	// once the ISR exits, the below macro makes higher priority task which got unblocked to resume on the CPU
	portYIELD_FROM_ISR(pxHigherPriorityTaskwWoken);

	traceISR_EXIT();
}

static void led_green_handler (void* parameters)
{
	BaseType_t status;

	while(1)
	{
		SEGGER_SYSVIEW_PrintfTarget("Toggling Green Led");
		HAL_GPIO_TogglePin(GPIOB, LED_GREEN_Pin);

		status = xTaskNotifyWait(0,0,NULL, pdMS_TO_TICKS(1000));
		if(status == pdTRUE)
		{
			portENTER_CRITICAL();
			next_task_handle = ledR_task_handle;
			HAL_GPIO_WritePin(GPIOB, LED_GREEN_Pin, GPIO_PIN_SET);
			SEGGER_SYSVIEW_PrintfTarget("Delete GREEN LED");
			portEXIT_CRITICAL();
			vTaskDelete(NULL);
		}
	}
}

static void led_red_handler (void* parameters)
{
	BaseType_t status;

	while(1)
	{
		SEGGER_SYSVIEW_PrintfTarget("Toggling Red Led");
		HAL_GPIO_TogglePin(GPIOB, LED_RED_Pin);

		status = xTaskNotifyWait(0,0,NULL, pdMS_TO_TICKS(800));
		if(status == pdTRUE)
		{
			portENTER_CRITICAL();
			next_task_handle = ledB_task_handle;
			HAL_GPIO_WritePin(GPIOB, LED_RED_Pin, GPIO_PIN_SET);
			SEGGER_SYSVIEW_PrintfTarget("Delete RED LED");
			portEXIT_CRITICAL();
			vTaskDelete(NULL);
		}
	}
}

static void led_blue_handler (void* parameters)
{
	BaseType_t status;

	while(1)
	{
		SEGGER_SYSVIEW_PrintfTarget("Toggling Blue Led");
		HAL_GPIO_TogglePin(GPIOB, LED_BLUE_Pin);

		status = xTaskNotifyWait(0,0,NULL, pdMS_TO_TICKS(400));
		if(status == pdTRUE)
		{
			portENTER_CRITICAL();
			next_task_handle = NULL;
			HAL_GPIO_WritePin(GPIOB, LED_BLUE_Pin, GPIO_PIN_SET);
			SEGGER_SYSVIEW_PrintfTarget("Delete BLUE LED");
			portEXIT_CRITICAL();
			vTaskDelete(NULL);
		}
	}
}

/* USER CODE END 4 */

void HAL_TIM_PeriodElapsedCallback(TIM_HandleTypeDef *htim)
{
  if (htim->Instance == TIM6) {
    HAL_IncTick();
  }
}

void Error_Handler(void)
{
  __disable_irq();
  while (1)
  {
  }
}
